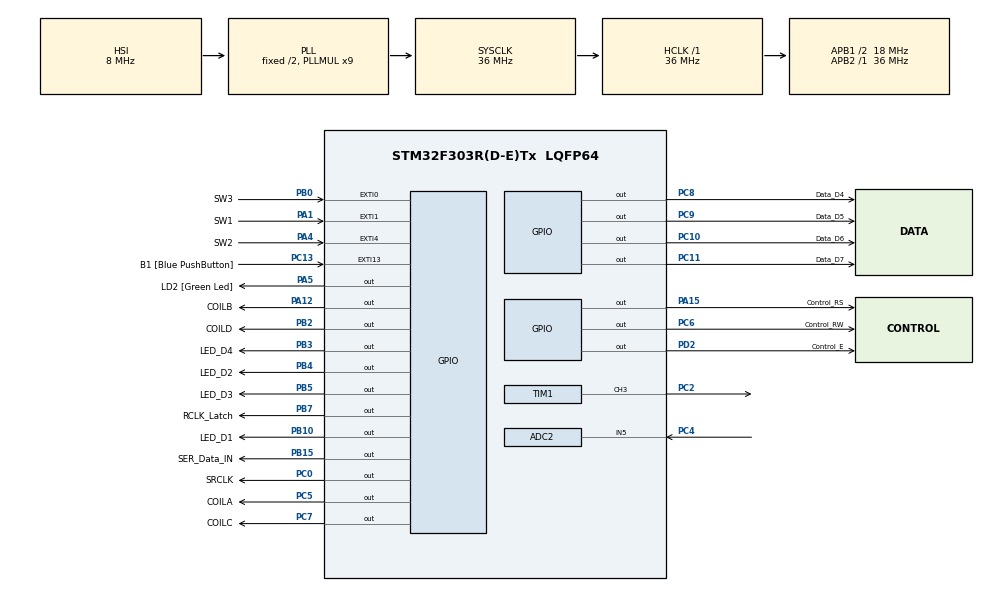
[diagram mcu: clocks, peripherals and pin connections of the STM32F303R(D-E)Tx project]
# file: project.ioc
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ADC2.Channel-0\#ChannelRegularConversion=ADC_CHANNEL_5
ADC2.NbrOfConversionFlag=1
ADC2.Offset-0\#ChannelRegularConversion=0
ADC2.OffsetNumber-0\#ChannelRegularConversion=ADC_OFFSET_NONE
ADC2.Rank-0\#ChannelRegularConversion=1
ADC2.SamplingTime-0\#ChannelRegularConversion=ADC_SAMPLETIME_1CYCLE_5
ADC2.SamplingTimeOPAMP-0\#ChannelRegularConversion=ADC_SAMPLETIME_19CYCLES_5
Mcu.Family=STM32F3
Mcu.Name=STM32F303R(D-E)Tx
Mcu.Package=LQFP64
NVIC.EXTI0_IRQn=true\:0\:0\:false\:false\:true\:true\:true\:true
NVIC.EXTI15_10_IRQn=true\:0\:0\:false\:false\:true\:true\:true\:true
NVIC.EXTI1_IRQn=true\:0\:0\:false\:false\:true\:true\:true\:true
NVIC.EXTI4_IRQn=true\:0\:0\:false\:false\:true\:true\:true\:true
NVIC.PriorityGroup=NVIC_PRIORITYGROUP_0
NVIC.RTC_Alarm_IRQn=true\:0\:0\:false\:false\:true\:true\:true\:true
NVIC.TIM6_DAC_IRQn=true\:0\:0\:false\:false\:true\:true\:true\:true
NVIC.TIM7_IRQn=true\:0\:0\:false\:false\:true\:true\:true\:true
PA1.GPIO_Label=SW1
PA1.GPIO_ModeDefaultEXTI=GPIO_MODE_IT_RISING_FALLING
PA1.Signal=GPXTI1
PA12.GPIO_Label=COILB
PA12.Signal=GPIO_Output
PA13.GPIO_Label=TMS
PA13.Signal=SYS_JTMS-SWDIO
PA14.GPIO_Label=TCK
PA14.Signal=SYS_JTCK-SWCLK
PA15.GPIO_Label=Control_RS
PA15.Signal=GPIO_Output
PA2.GPIO_Label=USART_TX
PA2.GPIO_Mode=GPIO_MODE_AF_PP
PA2.GPIO_PuPd=GPIO_NOPULL
PA2.GPIO_Speed=GPIO_SPEED_FREQ_LOW
PA2.Signal=USART2_TX
PA3.GPIO_Label=USART_RX
PA3.GPIO_Mode=GPIO_MODE_AF_PP
PA3.GPIO_PuPd=GPIO_NOPULL
PA3.GPIO_Speed=GPIO_SPEED_FREQ_LOW
PA3.Signal=USART2_RX
PA4.GPIO_Label=SW2
PA4.GPIO_ModeDefaultEXTI=GPIO_MODE_IT_RISING_FALLING
PA4.Signal=GPXTI4
PA5.GPIO_Label=LD2 [Green Led]
PA5.GPIO_Mode=GPIO_MODE_OUTPUT_PP
PA5.GPIO_PuPd=GPIO_NOPULL
PA5.GPIO_Speed=GPIO_SPEED_FREQ_LOW
PA5.Signal=GPIO_Output
PB0.GPIO_Label=SW3
PB0.GPIO_ModeDefaultEXTI=GPIO_MODE_IT_RISING_FALLING
PB0.Signal=GPXTI0
PB10.GPIO_Label=LED_D1
PB10.Signal=GPIO_Output
PB15.GPIO_Label=SER_Data_IN
PB15.Signal=GPIO_Output
PB2.GPIO_Label=COILD
PB2.Signal=GPIO_Output
PB3.GPIO_Label=LED_D4
PB3.Signal=GPIO_Output
PB4.GPIO_Label=LED_D2
PB4.Signal=GPIO_Output
PB5.GPIO_Label=LED_D3
PB5.Signal=GPIO_Output
PB7.GPIO_Label=RCLK_Latch
PB7.Signal=GPIO_Output
PC0.GPIO_Label=SRCLK
PC0.Signal=GPIO_Output
PC10.GPIO_Label=Data_D6
PC10.Signal=GPIO_Output
PC11.GPIO_Label=Data_D7
PC11.Signal=GPIO_Output
PC13.GPIO_Label=B1 [Blue PushButton]
PC13.GPIO_ModeDefaultEXTI=GPIO_MODE_IT_RISING_FALLING
PC13.Signal=GPXTI13
PC14-OSC32_IN.Signal=RCC_OSC32_IN
PC15-OSC32_OUT.Signal=RCC_OSC32_OUT
PC2.Signal=S_TIM1_CH3
PC4.Mode=IN5-Single-Ended
PC4.Signal=ADC2_IN5
PC5.GPIO_Label=COILA
PC5.Signal=GPIO_Output
PC6.GPIO_Label=Control_RW
PC6.Signal=GPIO_Output
PC7.GPIO_Label=COILC
PC7.Signal=GPIO_Output
PC8.GPIO_Label=Data_D4
PC8.Signal=GPIO_Output
PC9.GPIO_Label=Data_D5
PC9.Signal=GPIO_Output
PD2.GPIO_Label=Control_E
PD2.Signal=GPIO_Output
PF0-OSC_IN.Signal=RCC_OSC_IN
PF1-OSC_OUT.Signal=RCC_OSC_OUT
ProjectManager.HeapSize=0x200
ProjectManager.StackSize=0x400
ProjectManager.TargetToolchain=STM32CubeIDE
RCC.AHBFreq_Value=36000000
RCC.APB1CLKDivider=RCC_HCLK_DIV2
RCC.APB1Freq_Value=18000000
RCC.APB1TimFreq_Value=36000000
RCC.APB2Freq_Value=36000000
RCC.APB2TimFreq_Value=36000000
RCC.CortexFreq_Value=36000000
RCC.HCLKFreq_Value=36000000
RCC.HSE_VALUE=8000000
RCC.HSI_VALUE=8000000
RCC.LSE_VALUE=32768
RCC.PLLM=8
RCC.PLLMUL=RCC_PLL_MUL9
RCC.PLLN=336
RCC.PLLP=RCC_PLLP_DIV4
RCC.PLLQ=7
RCC.RCC_PLLsource_Clock_Source_FROM_HSE=RCC_HSE_PREDIV_DIV2
RCC.SYSCLKFreq_VALUE=36000000
RCC.SYSCLKSourceVirtual=RCC_SYSCLKSOURCE_PLLCLK
RCC.USBFreq_Value=36000000
RTC.Alarm-Alarm\ A=RTC_ALARM_A
RTC.Date=3
RTC.Hours=8
RTC.Minutes=30
RTC.Month=RTC_MONTH_AUGUST
RTC.WeekDay=RTC_WEEKDAY_SUNDAY
RTC.Year=25
SH.S_TIM1_CH3.0=TIM1_CH3,PWM Generation3 CH3
TIM1.Channel-PWM\ Generation1\ No\ Output=TIM_CHANNEL_1
TIM1.Channel-PWM\ Generation3\ CH3=TIM_CHANNEL_3
TIM1.Period=296
TIM1.Prescaler=1000 -1
TIM6.Period=7199
TIM6.Prescaler=9999
TIM7.Period=71
TIM7.Prescaler=999
VP_RTC_VS_RTC_Activate.Mode=RTC_Enabled
VP_RTC_VS_RTC_Alarm_A_Intern.Mode=Alarm A
VP_RTC_VS_RTC_Calendar.Mode=RTC_Calendar
VP_TIM1_VS_ClockSourceINT.Mode=Internal
VP_TIM1_VS_no_output1.Mode=PWM Generation1 No Output
VP_TIM6_VS_ClockSourceINT.Mode=Enable_Timer
VP_TIM7_VS_ClockSourceINT.Mode=Enable_Timer
board=NUCLEO-F303RE

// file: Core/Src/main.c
/* USER CODE BEGIN Header */
/**
  ******************************************************************************
  * @file           : main.c
  * @brief          : Main program body
  ******************************************************************************
  * @attention
  *
  * Copyright (c) 2025 STMicroelectronics.
  * All rights reserved.
  *
  * This software is licensed under terms that can be found in the LICENSE file
  * in the root directory of this software component.
  * If no LICENSE file comes with this software, it is provided AS-IS.
  *
  ******************************************************************************
  */
/* USER CODE END Header */
#include "main.h"

/* USER CODE BEGIN Includes */
#include "coast.h"
#include "lcd.h"
#include "state.h"
#include "time.h"
#include "interrupt.h"
#include "buzzer.h"
#include "vibration.h"
#include "options.h"
#include "fitness.h"
#include "ldr.h"
/* USER CODE END Includes */

ADC_HandleTypeDef hadc2;

RTC_HandleTypeDef hrtc;

TIM_HandleTypeDef htim1;
TIM_HandleTypeDef htim6;
TIM_HandleTypeDef htim7;

/* USER CODE BEGIN PV */
ADC_HandleTypeDef hadc2;

uint32_t last_tick = 0;
uint32_t seconds = 0;
uint32_t period_count = 0;

uint32_t millisecond = 0;
uint32_t lastCountdownSecond = 0;
uint32_t lastStopwatchSecond = 0;

uint32_t decimal_second_count = 0;
uint32_t button_double_press_time[4] = {0, 0, 0, 0};
uint32_t button_holding_time[4] = {0, 0, 0, 0};

bool timeFormatChanged = false;
bool screenNeedsRefresh = false;
/* button press check */
bool button1 = false;
bool button2 = false;
bool button3 = false;
bool buttonB = false;

/* double press interval and holding time */
uint32_t double_press_interval = 3;
uint32_t holding_bound = 10;
/* press check */
bool is_single_press[4] = {false, false, false, false};
bool is_double_press[4] = {false, false, false, false};
bool is_holding[4] = {false, false, false, false};

/* sound setting */
bool enable_sound = true;
bool button_sound = false;
bool enable_vibration = true;
bool button_vibration = false;
bool enable_time_update = false;

/* flashlight feature */
volatile bool flash = false;

/* countdown */
Countdown countdown = {
	.minute = 0,
	.second = 0,
	.countdown_enable = false
};
/* stopwatch */
Stopwatch stopwatch = {
	.hour = 0,
	.minute = 0,
	.second = 0,
	.stopwatch_enable = false
};

/* bool lap stopwatch */
bool lapStopwatchFlag = false;

/* ldr value get */
uint32_t modulus = 0;
uint32_t ldrValue = 0;
uint32_t dutyCycle = 0;
//static float s_ldr_filt = 0.0f;     // 滤波后的LDR
//static int   s_inited   = 0;
//static float s_duty     = DUTY_MIN; // 当前占空(0~100)
float alpha = 0.000025;
static float ema = 0;

/* Alarm variables*/
RTC_AlarmTypeDef sAlarm = {0};   // <-- single global definition

volatile bool alarm_active = false;
static uint32_t alarm_start_tick = 0;
static uint32_t last_blink_tick = 0;
static uint32_t last_beep_tick = 0;

/* USER CODE END PV */

void SystemClock_Config(void);
static void MX_GPIO_Init(void);
static void MX_RTC_Init(void);
static void MX_TIM1_Init(void);
static void MX_TIM6_Init(void);
static void MX_TIM7_Init(void);
static void MX_ADC2_Init(void);
/* USER CODE BEGIN PFP */
extern void coast_asm_delay(uint32_t milliseconds);
void SystemClock_Config(void);
static void system_clock_setup(void);
/* USER CODE END PFP */

/* USER CODE BEGIN 0 */

void HAL_GPIO_EXTI_Callback(uint16_t GPIO_Pin) {
	if (GPIO_Pin == B1_Pin) {
		/* Blue button is pressed */
		if (HAL_GPIO_ReadPin(B1_GPIO_Port, B1_Pin) == 0) {
			/* sound indication */
			if (enable_sound) generate_sound(460, 50, htim1);
			/* vibration indication */
			if (enable_vibration) {
				vibration_call(STEPS_PER_REV);
			}
			/* double press check */
			if (is_single_press[0] == true &&
				is_double_press[0] == false &&
				(decimal_second_count - button_double_press_time[0]) <= double_press_interval) {
				is_double_press[0] = true;
				is_single_press[0] = false;
				is_holding[0] = false;
			} else {
				is_single_press[0] = true;
				is_double_press[0] = false;
				is_holding[0] = false;
			}
			// update the holding time
			button_holding_time[0] = decimal_second_count;
		}
		/* Blue button is released */
		else {
			stop_sound(htim1);
			/* holding check */
			if ((decimal_second_count - button_holding_time[0]) >= holding_bound) {
				is_holding[0] = true;
				is_double_press[0] = false;
				is_single_press[0] = false;
			} else {
				button_double_press_time[0] = decimal_second_count;
			}

			if (is_holding[0]) {
				switch (currentScreen) {
					case TIME:
						switchTimeFormat();
						break;
					default:
					}
			} else if (is_double_press[0]) {
				switch (currentScreen) {
					case CUSTOM_TIME:
						changeTimeMin(4);
						break;
				}
			} else if (is_single_press[0] && !is_double_press[0]) {
				switch (currentScreen) {
					case HOME:
						currentScreen = TIME;
						break;
					case SETTINGS:
						flash = !flash;
						flash_state();
						screenNeedsRefresh = true;
						break;
					case CUSTOM_TIME:
						changeTimeMin(1);
						break;
					case ALARM:
						changeAlarmMin();
						break;
					case COUNTDOWN:
						toggleCountdown(&countdown);
						break;
					case STOPWATCH:
						toggleStopwatch(&stopwatch);
						break;
					default:
				}
			}
		}
	} else if (GPIO_Pin == SW1_Pin) {
		/* The sw1 pin is pressed */

		if (HAL_GPIO_ReadPin(SW1_GPIO_Port, SW1_Pin) == 1) {
			/* sound indication */
			if (enable_sound) generate_sound(460, 50, htim1);

			if (enable_vibration) {
				vibration_call(STEPS_PER_REV);
			}

			if (is_single_press[1] == true &&
				is_double_press[1] == false &&
				(decimal_second_count - button_double_press_time[1]) <= double_press_interval) {
				is_double_press[1] = true;
				is_single_press[1] = false;
				is_holding[1] = false;
			} else {
				is_single_press[1] = true;
				is_double_press[1] = false;
				is_holding[1] = false;
			}

			button_holding_time[1] = decimal_second_count;
		}
		/* The sw1 pin is released */
		else {
			stop_sound(htim1);

			if ((decimal_second_count - button_holding_time[1]) >= holding_bound) {
				is_holding[1] = true;
				is_double_press[1] = false;
				is_single_press[1] = false;
			} else {
				button_double_press_time[1] = decimal_second_count;
			}
			/* navigation */
			if (is_holding[1]) {

			} else if (is_single_press[1] && !is_double_press[1]) {
				switch (currentScreen) {
					/* back to previous pages */
					case SETTINGS:
						currentScreen = OPT;
						break;
					case OPT:
						currentScreen = HOME;
						break;
					case TIME:
						currentScreen = HOME;
						break;
					case CUSTOM_TIME:
						currentScreen = TIME;
						break;
					case TIME_SET:
						currentScreen = CUSTOM_TIME;
						break;
					case ALARM:
						currentScreen = TIME;
						break;
					case ALARM_SET:
						currentScreen = ALARM;
						break;
					case FITNESS:
						currentScreen = HOME;
						break;
					case COUNTDOWN:
						currentScreen = FITNESS;
						break;
					case STOPWATCH:
						currentScreen = FITNESS;
						break;
				}
			}
		}
	} else if (GPIO_Pin == SW2_Pin) {
		/* The sw2 pin is pressed */

		if (HAL_GPIO_ReadPin(SW2_GPIO_Port, SW2_Pin) == 1) {
			/* sound indication */
			if (enable_sound) {
				generate_sound(460, 50, htim1);
			}
			if (enable_vibration) {
				vibration_call(STEPS_PER_REV);
			}

			if (enable_vibration) {
				button_vibration = true;
			}

		    if (is_single_press[2] == true &&
		        is_double_press[2] == false &&
		        (decimal_second_count - button_double_press_time[2]) <= double_press_interval) {
		        is_double_press[2] = true;
		        is_single_press[2] = false;
		        is_holding[2] = false;
		    } else {
		        is_single_press[2] = true;
		        is_double_press[2] = false;
		        is_holding[2] = false;
		    }

		    button_holding_time[2] = decimal_second_count;
		}
		/* The sw2 pin is released */
		else {
			stop_sound(htim1);

			if ((decimal_second_count - button_holding_time[2]) >= holding_bound) {
				is_holding[2] = true;
				is_double_press[2] = false;
				is_single_press[2] = false;
			} else {
				button_double_press_time[2] = decimal_second_count;
			}
			if (is_holding[2] == true) {
				switch (currentScreen){
				//SW2 Held, HOME
					default:
						currentScreen = HOME;
						break;
				}
			} else if (is_single_press[2] && !is_double_press[2]) {
				switch (currentScreen) {
					case TIME:
						currentScreen = CUSTOM_TIME;
						break;
					case CUSTOM_TIME:
						currentScreen = TIME_SET;
						break;
					case ALARM:
						currentScreen = ALARM_SET;  // request alarm set
						break;
					case HOME:
						currentScreen = FITNESS;
						break;
					case FITNESS:
						currentScreen = COUNTDOWN;
						break;
					case COUNTDOWN:
						mintueCountdown(&countdown);
						break;
					case STOPWATCH:
						lapStopwatchFlag = true;
						break;
					case SETTINGS:
						enable_sound = !enable_sound;   // toggle first
						screenNeedsRefresh = true;
						break;
				}
			}
		}
	} else {
		/* The sw3 pin is pressed */
		if (HAL_GPIO_ReadPin(SW3_GPIO_Port, SW3_Pin) == 1) {
			/* sound indication */
			if (enable_sound) generate_sound(460, 50, htim1);

			if (enable_vibration) {
				vibration_call(STEPS_PER_REV);
			}
			if (is_single_press[3] == true &&
				is_double_press[3] == false &&
				(decimal_second_count - button_double_press_time[3]) <= double_press_interval) {
				is_double_press[3] = true;
				is_single_press[3] = false;
				is_holding[3] = false;
			} else {
				is_single_press[3] = true;
				is_double_press[3] = false;
				is_holding[3] = false;
			}

			button_holding_time[3] = decimal_second_count;
		}
		/* The sw3 pin is released */
		else {
			stop_sound(htim1);

			if ((decimal_second_count - button_holding_time[3]) >= holding_bound) {
				is_holding[3] = true;
				is_double_press[3] = false;
				is_single_press[3] = false;
			} else {
				button_double_press_time[3] = decimal_second_count;
			}
			if (is_holding[3]) {
				switch(currentScreen) {
					case COUNTDOWN:
						resetCountdown(&countdown);
						break;
					case STOPWATCH:
						resetStopwatch(&stopwatch);
						break;
				}
			} else if (is_double_press[3]) {
				is_single_press[3] = false; // cancel single press
				switch (currentScreen){
					case ALARM:
						switchAMPM();
						break;
					case CUSTOM_TIME:
						switchTimeAMPM();
						break;
				}
			} else if (is_single_press[3] && !is_double_press[3]) {
				// Only act as single press if no double press
				switch (currentScreen) {
					case HOME:
						previousScreen = currentScreen;
						currentScreen = OPT;
						break;
					case OPT:
						previousScreen = currentScreen;
						currentScreen = SETTINGS;
						break;
					case SETTINGS:
						enable_vibration = !enable_vibration;
						if (enable_vibration) {
							vibration_call(32);
						} else {
							vibration_stop();
						}
						screenNeedsRefresh = true;
						break;
					case TIME:
						currentScreen = ALARM;
						break;
					case CUSTOM_TIME:
						changeTimeHour();
						break;
					case ALARM:
						changeAlarmHour();
						break;
					case FITNESS:
						currentScreen = STOPWATCH;
						break;
					case COUNTDOWN:
						secondCountdown(&countdown);
						break;
				}
			}
		}
	}
}

void HAL_TIM_PeriodElapsedCallback(TIM_HandleTypeDef *htim) {
	if (htim == &htim6) {
		seconds++;
	} else if (htim == &htim7) {
		period_count++;
		if (period_count >= 100) {
			period_count = 0;
			decimal_second_count++;
		}
		vibration_tick_1ms(); // vibration ticker
		/* ldr changes the LED */
		if (!flash) {
			/* ldr running code */
			if (period_count == dutyCycle) {
				HAL_GPIO_WritePin(LED_D1_GPIO_Port, LED_D1_Pin, GPIO_PIN_RESET);
				HAL_GPIO_WritePin(LED_D2_GPIO_Port, LED_D2_Pin, GPIO_PIN_RESET);
				HAL_GPIO_WritePin(LED_D3_GPIO_Port, LED_D3_Pin, GPIO_PIN_RESET);
				HAL_GPIO_WritePin(LED_D4_GPIO_Port, LED_D4_Pin, GPIO_PIN_RESET);
				HAL_GPIO_WritePin(LD2_GPIO_Port, LD2_Pin, GPIO_PIN_RESET);

				HAL_GPIO_WritePin(GPIOB, SER_Data_IN_Pin, GPIO_PIN_RESET);
				for (int i = 0; i < 16; i++) {
					HAL_GPIO_WritePin(SRCLK_GPIO_Port, SRCLK_Pin, GPIO_PIN_SET);
					HAL_GPIO_WritePin(SRCLK_GPIO_Port, SRCLK_Pin, GPIO_PIN_RESET);
				}
				HAL_GPIO_WritePin(RCLK_Latch_GPIO_Port, RCLK_Latch_Pin, GPIO_PIN_SET);
				HAL_GPIO_WritePin(RCLK_Latch_GPIO_Port, RCLK_Latch_Pin, GPIO_PIN_RESET);
			} else if (period_count == 0) {
				HAL_GPIO_WritePin(LED_D1_GPIO_Port, LED_D1_Pin, GPIO_PIN_SET);
				HAL_GPIO_WritePin(LED_D2_GPIO_Port, LED_D2_Pin, GPIO_PIN_SET);
				HAL_GPIO_WritePin(LED_D3_GPIO_Port, LED_D3_Pin, GPIO_PIN_SET);
				HAL_GPIO_WritePin(LED_D4_GPIO_Port, LED_D4_Pin, GPIO_PIN_SET);
				HAL_GPIO_WritePin(LD2_GPIO_Port, LD2_Pin, GPIO_PIN_SET);

				HAL_GPIO_WritePin(GPIOB, SER_Data_IN_Pin, GPIO_PIN_SET);
				for (int i = 0; i < 16; i++) {
					HAL_GPIO_WritePin(SRCLK_GPIO_Port, SRCLK_Pin, GPIO_PIN_SET);
					HAL_GPIO_WritePin(SRCLK_GPIO_Port, SRCLK_Pin, GPIO_PIN_RESET);
				}
				HAL_GPIO_WritePin(RCLK_Latch_GPIO_Port, RCLK_Latch_Pin, GPIO_PIN_SET);
				HAL_GPIO_WritePin(RCLK_Latch_GPIO_Port, RCLK_Latch_Pin, GPIO_PIN_RESET);
			}
		}
	}
}

void HAL_RTC_AlarmAEventCallback(RTC_HandleTypeDef *hrtc) {
	alarm_active = true;
	alarm_start_tick = HAL_GetTick();
	last_blink_tick = alarm_start_tick;
	last_beep_tick = alarm_start_tick;
}

/* USER CODE END 0 */

int main(void)
{

  /* MCU Configuration--------------------------------------------------------*/

  /* Reset of all peripherals, Initializes the Flash interface and the Systick. */
  HAL_Init();

  /* Configure the system clock */
  SystemClock_Config();

  /* USER CODE BEGIN SysInit */
  system_clock_setup();
  /* USER CODE END SysInit */

  /* Initialize all configured peripherals */
  MX_GPIO_Init();
  MX_RTC_Init();
  MX_TIM1_Init();
  MX_TIM6_Init();
  MX_TIM7_Init();
  MX_ADC2_Init();
  /* USER CODE BEGIN 2 */

  coast_lcd_init();
  HAL_TIM_Base_Start_IT(&htim6);
  HAL_TIM_Base_Start_IT(&htim7);

  /* USER CODE END 2 */

  /* Infinite loop */
  while (1)
  {

    /* USER CODE BEGIN 3 */
	  /* update the countdown */
	  if (countdown.countdown_enable) {
	  	  runCountdown(&countdown, &lastCountdownSecond, seconds, htim1, enable_sound, enable_vibration);
	  	  }
	  /* update the stopwatch */
	  if (stopwatch.stopwatch_enable) {
		  runStopwatch(&stopwatch, &lastStopwatchSecond, seconds);
	  }

	  // Rings, Vibrates and Flashes for 5 seconds
	  if (alarm_active) {
	      if (HAL_GetTick() - alarm_start_tick >= 5000) {
	          alarm_active = false;
	          HAL_GPIO_WritePin(LED_D3_GPIO_Port, LED_D3_Pin, GPIO_PIN_RESET);
	          stop_sound(htim1);
	      } else {
	          if (HAL_GetTick() - last_beep_tick >= 500) {
	              play_note(460, 100, 50, htim1);
	              if (enable_vibration) {
	            	  vibration_call(32);
	              }
	              flash_on();
	              last_beep_tick = HAL_GetTick();
	          }
	      }
	  }

	  /* update the information refreshed per second and sets the page */
	  if (currentScreen != previousScreen || timeFormatChanged || screenNeedsRefresh) {
			LCD_SendCmd(LCD_CLEAR_DISPLAY);
			coast_asm_delay(2);

			switch (currentScreen) {
				case HOME:
					homePage(); // draw layout only
					updateTime(1, 4);
					break;
				case TIME:
					timePage();
					updateTime(0, 4);
					break;
				case CUSTOM_TIME:
					timeSetPage();
					updateSetTime(1, 0);
					break;
				case TIME_SET:
					timeSetConfirm();
					break;
				case ALARM:
					alarmPage();
					updateAlarm(1, 0);
					break;
				case ALARM_SET:
				    alarmConfirm();
				    break;
				case OPT:
					OPTpage(ldrValue);
					break;
				case SETTINGS:
					settingsPage();
					break;
				case FITNESS:
					fitnessPage();
					updateFitness(1, 0);
					break;
				case COUNTDOWN:
					countdownPage(countdown);
					break;
				case STOPWATCH:
					stopwatchPage(stopwatch);
					break;

			}
			previousScreen = currentScreen;
			screenNeedsRefresh = false;  // clear the flags
			timeFormatChanged = false;  // clear the flag
			last_tick = HAL_GetTick();
	  }

	  /* UPDATE TIME EVERY SECOND ELAPSED */
	  if ((HAL_GetTick() - last_tick) >= 1000) {
	  	switch (currentScreen) {
	  		case HOME:
	  			updateTime(1, 4);  // row 1 (second line), column 4
	  			break;
	  		case TIME:
	  			updateTime(0, 4);  // row 0, col 6 (or wherever)
	  			break;
	  		case CUSTOM_TIME:
	  			updateSetTime(1, 0);
	  			break;
	  		case ALARM:
	  			updateAlarm(1, 0);
	  			break;
	  		case FITNESS:
	  			 updateFitness(1, 0);
	  			 break;
	  		case COUNTDOWN:
				updateCountdown(countdown);
				break;
			case STOPWATCH:
				/* if update lap or not */
				if (lapStopwatchFlag) {
					lapStopwatch(stopwatch);
					lapStopwatchFlag = false;
				}
				updateStopwatch(stopwatch);
				break;
			case OPT:
				updateOpt(ldrValue);
				break;
	  		default:
	  			break;
	  	}
	  	last_tick += 1000;
	  }
	  /* ldr value */
	  HAL_ADC_Start(&hadc2);
	  HAL_ADC_PollForConversion(&hadc2, 1);
	  ldrValue = HAL_ADC_GetValue(&hadc2);

	  /* Exponential Moving Average Filter */
	  ema = alpha * ldrValue + (1 - alpha) * ema;

	  if (ema >= 600) {
		  dutyCycle = 0;
	  } else if (ema <= 100) {
		  dutyCycle = 100;
	  } else {
		  dutyCycle = (600 - (uint32_t)ema) / 5;
	  }

  }
  /* USER CODE END 3 */
}

void SystemClock_Config(void)
{
  RCC_OscInitTypeDef RCC_OscInitStruct = {0};
  RCC_ClkInitTypeDef RCC_ClkInitStruct = {0};
  RCC_PeriphCLKInitTypeDef PeriphClkInit = {0};

  /** Initializes the RCC Oscillators according to the specified parameters
  * in the RCC_OscInitTypeDef structure.
  */
  RCC_OscInitStruct.OscillatorType = RCC_OSCILLATORTYPE_HSI|RCC_OSCILLATORTYPE_LSI;
  RCC_OscInitStruct.HSIState = RCC_HSI_ON;
  RCC_OscInitStruct.HSICalibrationValue = RCC_HSICALIBRATION_DEFAULT;
  RCC_OscInitStruct.LSIState = RCC_LSI_ON;
  RCC_OscInitStruct.PLL.PLLState = RCC_PLL_ON;
  RCC_OscInitStruct.PLL.PLLSource = RCC_PLLSOURCE_HSI;
  RCC_OscInitStruct.PLL.PLLMUL = RCC_PLL_MUL9;
  RCC_OscInitStruct.PLL.PREDIV = RCC_PREDIV_DIV1;
  if (HAL_RCC_OscConfig(&RCC_OscInitStruct) != HAL_OK)
  {
    Error_Handler();
  }

  /** Initializes the CPU, AHB and APB buses clocks
  */
  RCC_ClkInitStruct.ClockType = RCC_CLOCKTYPE_HCLK|RCC_CLOCKTYPE_SYSCLK
                              |RCC_CLOCKTYPE_PCLK1|RCC_CLOCKTYPE_PCLK2;
  RCC_ClkInitStruct.SYSCLKSource = RCC_SYSCLKSOURCE_PLLCLK;
  RCC_ClkInitStruct.AHBCLKDivider = RCC_SYSCLK_DIV1;
  RCC_ClkInitStruct.APB1CLKDivider = RCC_HCLK_DIV2;
  RCC_ClkInitStruct.APB2CLKDivider = RCC_HCLK_DIV1;

  if (HAL_RCC_ClockConfig(&RCC_ClkInitStruct, FLASH_LATENCY_1) != HAL_OK)
  {
    Error_Handler();
  }
  PeriphClkInit.PeriphClockSelection = RCC_PERIPHCLK_RTC|RCC_PERIPHCLK_TIM1
                              |RCC_PERIPHCLK_ADC12;
  PeriphClkInit.Adc12ClockSelection = RCC_ADC12PLLCLK_DIV1;
  PeriphClkInit.RTCClockSelection = RCC_RTCCLKSOURCE_LSI;
  PeriphClkInit.Tim1ClockSelection = RCC_TIM1CLK_HCLK;
  if (HAL_RCCEx_PeriphCLKConfig(&PeriphClkInit) != HAL_OK)
  {
    Error_Handler();
  }
}

static void MX_ADC2_Init(void)
{

  ADC_ChannelConfTypeDef sConfig = {0};

  /** Common config
  */
  hadc2.Instance = ADC2;
  hadc2.Init.ClockPrescaler = ADC_CLOCK_ASYNC_DIV1;
  hadc2.Init.Resolution = ADC_RESOLUTION_12B;
  hadc2.Init.ScanConvMode = ADC_SCAN_DISABLE;
  hadc2.Init.ContinuousConvMode = DISABLE;
  hadc2.Init.DiscontinuousConvMode = DISABLE;
  hadc2.Init.ExternalTrigConvEdge = ADC_EXTERNALTRIGCONVEDGE_NONE;
  hadc2.Init.ExternalTrigConv = ADC_SOFTWARE_START;
  hadc2.Init.DataAlign = ADC_DATAALIGN_RIGHT;
  hadc2.Init.NbrOfConversion = 1;
  hadc2.Init.DMAContinuousRequests = DISABLE;
  hadc2.Init.EOCSelection = ADC_EOC_SINGLE_CONV;
  hadc2.Init.LowPowerAutoWait = DISABLE;
  hadc2.Init.Overrun = ADC_OVR_DATA_OVERWRITTEN;
  if (HAL_ADC_Init(&hadc2) != HAL_OK)
  {
    Error_Handler();
  }

  /** Configure Regular Channel
  */
  sConfig.Channel = ADC_CHANNEL_5;
  sConfig.Rank = ADC_REGULAR_RANK_1;
  sConfig.SingleDiff = ADC_SINGLE_ENDED;
  sConfig.SamplingTime = ADC_SAMPLETIME_1CYCLE_5;
  sConfig.OffsetNumber = ADC_OFFSET_NONE;
  sConfig.Offset = 0;
  if (HAL_ADC_ConfigChannel(&hadc2, &sConfig) != HAL_OK)
  {
    Error_Handler();
  }

}

static void MX_RTC_Init(void)
{

  RTC_TimeTypeDef sTime = {0};
  RTC_DateTypeDef sDate = {0};

  /** Initialize RTC Only
  */
  hrtc.Instance = RTC;
  hrtc.Init.HourFormat = RTC_HOURFORMAT_24;
  hrtc.Init.AsynchPrediv = 127;
  hrtc.Init.SynchPrediv = 255;
  hrtc.Init.OutPut = RTC_OUTPUT_DISABLE;
  hrtc.Init.OutPutPolarity = RTC_OUTPUT_POLARITY_HIGH;
  hrtc.Init.OutPutType = RTC_OUTPUT_TYPE_OPENDRAIN;
  if (HAL_RTC_Init(&hrtc) != HAL_OK)
  {
    Error_Handler();
  }

  /** Initialize RTC and set the Time and Date
  */
  sTime.Hours = 0x8;
  sTime.Minutes = 0x34;
  sTime.Seconds = 0x0;
  sTime.DayLightSaving = RTC_DAYLIGHTSAVING_NONE;
  sTime.StoreOperation = RTC_STOREOPERATION_RESET;
  if (HAL_RTC_SetTime(&hrtc, &sTime, RTC_FORMAT_BCD) != HAL_OK)
  {
    Error_Handler();
  }
  sDate.WeekDay = RTC_WEEKDAY_SUNDAY;
  sDate.Month = RTC_MONTH_AUGUST;
  sDate.Date = 0x3;
  sDate.Year = 0x25;

  if (HAL_RTC_SetDate(&hrtc, &sDate, RTC_FORMAT_BCD) != HAL_OK)
  {
    Error_Handler();
  }

  /** Enable the Alarm A
  */
  sAlarm.AlarmTime.Hours = 0x0;
  sAlarm.AlarmTime.Minutes = 0x0;
  sAlarm.AlarmTime.Seconds = 0x0;
  sAlarm.AlarmTime.SubSeconds = 0x0;
  sAlarm.AlarmTime.DayLightSaving = RTC_DAYLIGHTSAVING_NONE;
  sAlarm.AlarmTime.StoreOperation = RTC_STOREOPERATION_RESET;
  sAlarm.AlarmMask = RTC_ALARMMASK_DATEWEEKDAY;
  sAlarm.AlarmSubSecondMask = RTC_ALARMSUBSECONDMASK_ALL;
  sAlarm.AlarmDateWeekDaySel = RTC_ALARMDATEWEEKDAYSEL_DATE;
  sAlarm.AlarmDateWeekDay = 0x1;
  sAlarm.Alarm = RTC_ALARM_A;
  if (HAL_RTC_SetAlarm_IT(&hrtc, &sAlarm, RTC_FORMAT_BCD) != HAL_OK)
  {
    Error_Handler();
  }
  /* USER CODE BEGIN RTC_Init 2 */

  HAL_NVIC_SetPriority(RTC_Alarm_IRQn, 0, 0);
  HAL_NVIC_EnableIRQ(RTC_Alarm_IRQn);

  /* USER CODE END RTC_Init 2 */

}

static void MX_TIM1_Init(void)
{

  TIM_ClockConfigTypeDef sClockSourceConfig = {0};
  TIM_MasterConfigTypeDef sMasterConfig = {0};
  TIM_OC_InitTypeDef sConfigOC = {0};
  TIM_BreakDeadTimeConfigTypeDef sBreakDeadTimeConfig = {0};

  htim1.Instance = TIM1;
  htim1.Init.Prescaler = 1000 -1;
  htim1.Init.CounterMode = TIM_COUNTERMODE_UP;
  htim1.Init.Period = 296;
  htim1.Init.ClockDivision = TIM_CLOCKDIVISION_DIV1;
  htim1.Init.RepetitionCounter = 0;
  htim1.Init.AutoReloadPreload = TIM_AUTORELOAD_PRELOAD_DISABLE;
  if (HAL_TIM_Base_Init(&htim1) != HAL_OK)
  {
    Error_Handler();
  }
  sClockSourceConfig.ClockSource = TIM_CLOCKSOURCE_INTERNAL;
  if (HAL_TIM_ConfigClockSource(&htim1, &sClockSourceConfig) != HAL_OK)
  {
    Error_Handler();
  }
  if (HAL_TIM_PWM_Init(&htim1) != HAL_OK)
  {
    Error_Handler();
  }
  sMasterConfig.MasterOutputTrigger = TIM_TRGO_RESET;
  sMasterConfig.MasterOutputTrigger2 = TIM_TRGO2_RESET;
  sMasterConfig.MasterSlaveMode = TIM_MASTERSLAVEMODE_DISABLE;
  if (HAL_TIMEx_MasterConfigSynchronization(&htim1, &sMasterConfig) != HAL_OK)
  {
    Error_Handler();
  }
  sConfigOC.OCMode = TIM_OCMODE_PWM1;
  sConfigOC.Pulse = 0;
  sConfigOC.OCPolarity = TIM_OCPOLARITY_HIGH;
  sConfigOC.OCNPolarity = TIM_OCNPOLARITY_HIGH;
  sConfigOC.OCFastMode = TIM_OCFAST_DISABLE;
  sConfigOC.OCIdleState = TIM_OCIDLESTATE_RESET;
  sConfigOC.OCNIdleState = TIM_OCNIDLESTATE_RESET;
  if (HAL_TIM_PWM_ConfigChannel(&htim1, &sConfigOC, TIM_CHANNEL_1) != HAL_OK)
  {
    Error_Handler();
  }
  if (HAL_TIM_PWM_ConfigChannel(&htim1, &sConfigOC, TIM_CHANNEL_3) != HAL_OK)
  {
    Error_Handler();
  }
  sBreakDeadTimeConfig.OffStateRunMode = TIM_OSSR_DISABLE;
  sBreakDeadTimeConfig.OffStateIDLEMode = TIM_OSSI_DISABLE;
  sBreakDeadTimeConfig.LockLevel = TIM_LOCKLEVEL_OFF;
  sBreakDeadTimeConfig.DeadTime = 0;
  sBreakDeadTimeConfig.BreakState = TIM_BREAK_DISABLE;
  sBreakDeadTimeConfig.BreakPolarity = TIM_BREAKPOLARITY_HIGH;
  sBreakDeadTimeConfig.BreakFilter = 0;
  sBreakDeadTimeConfig.Break2State = TIM_BREAK2_DISABLE;
  sBreakDeadTimeConfig.Break2Polarity = TIM_BREAK2POLARITY_HIGH;
  sBreakDeadTimeConfig.Break2Filter = 0;
  sBreakDeadTimeConfig.AutomaticOutput = TIM_AUTOMATICOUTPUT_DISABLE;
  if (HAL_TIMEx_ConfigBreakDeadTime(&htim1, &sBreakDeadTimeConfig) != HAL_OK)
  {
    Error_Handler();
  }
  HAL_TIM_MspPostInit(&htim1);

}

static void MX_TIM6_Init(void)
{

  TIM_MasterConfigTypeDef sMasterConfig = {0};

  htim6.Instance = TIM6;
  htim6.Init.Prescaler = 9999;
  htim6.Init.CounterMode = TIM_COUNTERMODE_UP;
  htim6.Init.Period = 7199;
  htim6.Init.AutoReloadPreload = TIM_AUTORELOAD_PRELOAD_DISABLE;
  if (HAL_TIM_Base_Init(&htim6) != HAL_OK)
  {
    Error_Handler();
  }
  sMasterConfig.MasterOutputTrigger = TIM_TRGO_RESET;
  sMasterConfig.MasterSlaveMode = TIM_MASTERSLAVEMODE_DISABLE;
  if (HAL_TIMEx_MasterConfigSynchronization(&htim6, &sMasterConfig) != HAL_OK)
  {
    Error_Handler();
  }

}

static void MX_TIM7_Init(void)
{

  TIM_MasterConfigTypeDef sMasterConfig = {0};

  htim7.Instance = TIM7;
  htim7.Init.Prescaler = 999;
  htim7.Init.CounterMode = TIM_COUNTERMODE_UP;
  htim7.Init.Period = 71;
  htim7.Init.AutoReloadPreload = TIM_AUTORELOAD_PRELOAD_DISABLE;
  if (HAL_TIM_Base_Init(&htim7) != HAL_OK)
  {
    Error_Handler();
  }
  sMasterConfig.MasterOutputTrigger = TIM_TRGO_RESET;
  sMasterConfig.MasterSlaveMode = TIM_MASTERSLAVEMODE_DISABLE;
  if (HAL_TIMEx_MasterConfigSynchronization(&htim7, &sMasterConfig) != HAL_OK)
  {
    Error_Handler();
  }

}

static void MX_GPIO_Init(void)
{
  GPIO_InitTypeDef GPIO_InitStruct = {0};

  /* GPIO Ports Clock Enable */
  __HAL_RCC_GPIOC_CLK_ENABLE();
  __HAL_RCC_GPIOF_CLK_ENABLE();
  __HAL_RCC_GPIOA_CLK_ENABLE();
  __HAL_RCC_GPIOB_CLK_ENABLE();
  __HAL_RCC_GPIOD_CLK_ENABLE();

  /*Configure GPIO pin Output Level */
  HAL_GPIO_WritePin(GPIOC, SRCLK_Pin|COILA_Pin|Control_RW_Pin|COILC_Pin
                          |Data_D4_Pin|Data_D5_Pin|Data_D6_Pin|Data_D7_Pin, GPIO_PIN_RESET);

  /*Configure GPIO pin Output Level */
  HAL_GPIO_WritePin(GPIOA, LD2_Pin|COILB_Pin|Control_RS_Pin, GPIO_PIN_RESET);

  /*Configure GPIO pin Output Level */
  HAL_GPIO_WritePin(GPIOB, COILD_Pin|LED_D1_Pin|SER_Data_IN_Pin|LED_D4_Pin
                          |LED_D2_Pin|LED_D3_Pin|RCLK_Latch_Pin, GPIO_PIN_RESET);

  /*Configure GPIO pin Output Level */
  HAL_GPIO_WritePin(Control_E_GPIO_Port, Control_E_Pin, GPIO_PIN_RESET);

  /*Configure GPIO pin : B1_Pin */
  GPIO_InitStruct.Pin = B1_Pin;
  GPIO_InitStruct.Mode = GPIO_MODE_IT_RISING_FALLING;
  GPIO_InitStruct.Pull = GPIO_NOPULL;
  HAL_GPIO_Init(B1_GPIO_Port, &GPIO_InitStruct);

  /*Configure GPIO pins : SRCLK_Pin COILA_Pin Control_RW_Pin COILC_Pin
                           Data_D4_Pin Data_D5_Pin Data_D6_Pin Data_D7_Pin */
  GPIO_InitStruct.Pin = SRCLK_Pin|COILA_Pin|Control_RW_Pin|COILC_Pin
                          |Data_D4_Pin|Data_D5_Pin|Data_D6_Pin|Data_D7_Pin;
  GPIO_InitStruct.Mode = GPIO_MODE_OUTPUT_PP;
  GPIO_InitStruct.Pull = GPIO_NOPULL;
  GPIO_InitStruct.Speed = GPIO_SPEED_FREQ_LOW;
  HAL_GPIO_Init(GPIOC, &GPIO_InitStruct);

  /*Configure GPIO pins : SW1_Pin SW2_Pin */
  GPIO_InitStruct.Pin = SW1_Pin|SW2_Pin;
  GPIO_InitStruct.Mode = GPIO_MODE_IT_RISING_FALLING;
  GPIO_InitStruct.Pull = GPIO_NOPULL;
  HAL_GPIO_Init(GPIOA, &GPIO_InitStruct);

  /*Configure GPIO pins : USART_TX_Pin USART_RX_Pin */
  GPIO_InitStruct.Pin = USART_TX_Pin|USART_RX_Pin;
  GPIO_InitStruct.Mode = GPIO_MODE_AF_PP;
  GPIO_InitStruct.Pull = GPIO_NOPULL;
  GPIO_InitStruct.Speed = GPIO_SPEED_FREQ_LOW;
  GPIO_InitStruct.Alternate = GPIO_AF7_USART2;
  HAL_GPIO_Init(GPIOA, &GPIO_InitStruct);

  /*Configure GPIO pins : LD2_Pin COILB_Pin Control_RS_Pin */
  GPIO_InitStruct.Pin = LD2_Pin|COILB_Pin|Control_RS_Pin;
  GPIO_InitStruct.Mode = GPIO_MODE_OUTPUT_PP;
  GPIO_InitStruct.Pull = GPIO_NOPULL;
  GPIO_InitStruct.Speed = GPIO_SPEED_FREQ_LOW;
  HAL_GPIO_Init(GPIOA, &GPIO_InitStruct);

  /*Configure GPIO pin : SW3_Pin */
  GPIO_InitStruct.Pin = SW3_Pin;
  GPIO_InitStruct.Mode = GPIO_MODE_IT_RISING_FALLING;
  GPIO_InitStruct.Pull = GPIO_NOPULL;
  HAL_GPIO_Init(SW3_GPIO_Port, &GPIO_InitStruct);

  /*Configure GPIO pins : COILD_Pin LED_D1_Pin SER_Data_IN_Pin LED_D4_Pin
                           LED_D2_Pin LED_D3_Pin RCLK_Latch_Pin */
  GPIO_InitStruct.Pin = COILD_Pin|LED_D1_Pin|SER_Data_IN_Pin|LED_D4_Pin
                          |LED_D2_Pin|LED_D3_Pin|RCLK_Latch_Pin;
  GPIO_InitStruct.Mode = GPIO_MODE_OUTPUT_PP;
  GPIO_InitStruct.Pull = GPIO_NOPULL;
  GPIO_InitStruct.Speed = GPIO_SPEED_FREQ_LOW;
  HAL_GPIO_Init(GPIOB, &GPIO_InitStruct);

  /*Configure GPIO pin : Control_E_Pin */
  GPIO_InitStruct.Pin = Control_E_Pin;
  GPIO_InitStruct.Mode = GPIO_MODE_OUTPUT_PP;
  GPIO_InitStruct.Pull = GPIO_NOPULL;
  GPIO_InitStruct.Speed = GPIO_SPEED_FREQ_LOW;
  HAL_GPIO_Init(Control_E_GPIO_Port, &GPIO_InitStruct);

  /* EXTI interrupt init*/
  HAL_NVIC_SetPriority(EXTI0_IRQn, 0, 0);
  HAL_NVIC_EnableIRQ(EXTI0_IRQn);

  HAL_NVIC_SetPriority(EXTI1_IRQn, 0, 0);
  HAL_NVIC_EnableIRQ(EXTI1_IRQn);

  HAL_NVIC_SetPriority(EXTI4_IRQn, 0, 0);
  HAL_NVIC_EnableIRQ(EXTI4_IRQn);

  HAL_NVIC_SetPriority(EXTI15_10_IRQn, 0, 0);
  HAL_NVIC_EnableIRQ(EXTI15_10_IRQn);

}

/* USER CODE BEGIN 4 */
/* set the RTC detection LSE instead of LSI for more accurate time */
void system_clock_setup() {
	RCC_OscInitTypeDef RCC_OscInitStruct = {0};
	RCC_ClkInitTypeDef RCC_ClkInitStruct = {0};
	RCC_PeriphCLKInitTypeDef PeriphClkInit = {0};
	RCC_OscInitStruct.OscillatorType = RCC_OSCILLATORTYPE_HSI|RCC_OSCILLATORTYPE_LSE;
	RCC_OscInitStruct.HSIState = RCC_HSI_ON;
	RCC_OscInitStruct.HSICalibrationValue = RCC_HSICALIBRATION_DEFAULT;
	RCC_OscInitStruct.LSEState = RCC_LSE_ON;
	RCC_OscInitStruct.LSIState = RCC_LSI_OFF;
	RCC_OscInitStruct.PLL.PLLState = RCC_PLL_ON;
	RCC_OscInitStruct.PLL.PLLSource = RCC_PLLSOURCE_HSI;
	RCC_OscInitStruct.PLL.PLLMUL = RCC_PLL_MUL9;
	RCC_OscInitStruct.PLL.PREDIV = RCC_PREDIV_DIV1;
	if (HAL_RCC_OscConfig(&RCC_OscInitStruct) != HAL_OK)
	{
	Error_Handler();
	}

	/** Initializes the CPU, AHB and APB buses clocks
	*/
	RCC_ClkInitStruct.ClockType = RCC_CLOCKTYPE_HCLK|RCC_CLOCKTYPE_SYSCLK
							  |RCC_CLOCKTYPE_PCLK1|RCC_CLOCKTYPE_PCLK2;
	RCC_ClkInitStruct.SYSCLKSource = RCC_SYSCLKSOURCE_PLLCLK;
	RCC_ClkInitStruct.AHBCLKDivider = RCC_SYSCLK_DIV1;
	RCC_ClkInitStruct.APB1CLKDivider = RCC_HCLK_DIV2;
	RCC_ClkInitStruct.APB2CLKDivider = RCC_HCLK_DIV1;

	if (HAL_RCC_ClockConfig(&RCC_ClkInitStruct, FLASH_LATENCY_1) != HAL_OK)
	{
	Error_Handler();
	}
	PeriphClkInit.PeriphClockSelection = RCC_PERIPHCLK_RTC|RCC_PERIPHCLK_TIM1;
	PeriphClkInit.RTCClockSelection = RCC_RTCCLKSOURCE_LSE;
	PeriphClkInit.Tim1ClockSelection = RCC_TIM1CLK_HCLK;
	if (HAL_RCCEx_PeriphCLKConfig(&PeriphClkInit) != HAL_OK)
	{
	Error_Handler();
	}
}
/* USER CODE END 4 */

void Error_Handler(void)
{
  __disable_irq();
  while (1)
  {
  }
}
